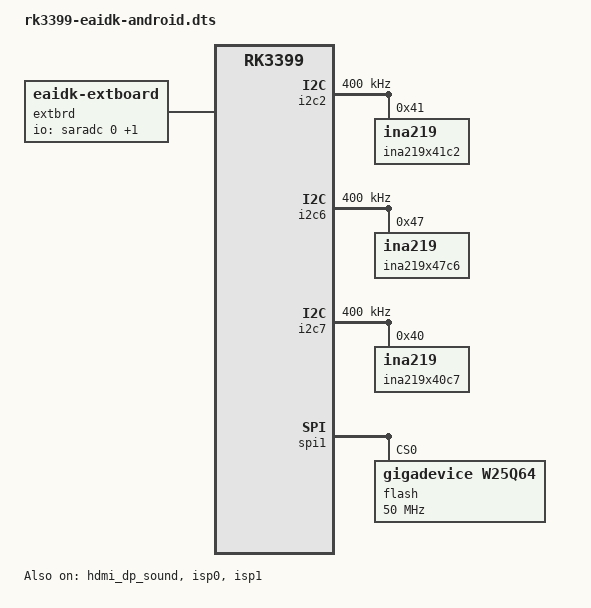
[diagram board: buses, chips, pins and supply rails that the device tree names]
/*
 * Copyright (c) 2018 Fuzhou Rockchip Electronics Co., Ltd
 *
 * This file is dual-licensed: you can use it either under the terms
 * of the GPL or the X11 license, at your option. Note that this dual
 * licensing only applies to this file, and not this project as a
 * whole.
 *
 *  a) This file is free software; you can redistribute it and/or
 *     modify it under the terms of the GNU General Public License as
 *     published by the Free Software Foundation; either version 2 of the
 *     License, or (at your option) any later version.
 *
 *     This file is distributed in the hope that it will be useful,
 *     but WITHOUT ANY WARRANTY; without even the implied warranty of
 *     MERCHANTABILITY or FITNESS FOR A PARTICULAR PURPOSE.  See the
 *     GNU General Public License for more details.
 *
 * Or, alternatively,
 *
 *  b) Permission is hereby granted, free of charge, to any person
 *     obtaining a copy of this software and associated documentation
 *     files (the "Software"), to deal in the Software without
 *     restriction, including without limitation the rights to use,
 *     copy, modify, merge, publish, distribute, sublicense, and/or
 *     sell copies of the Software, and to permit persons to whom the
 *     Software is furnished to do so, subject to the following
 *     conditions:
 *
 *     The above copyright notice and this permission notice shall be
 *     included in all copies or substantial portions of the Software.
 *
 *     THE SOFTWARE IS PROVIDED "AS IS", WITHOUT WARRANTY OF ANY KIND,
 *     EXPRESS OR IMPLIED, INCLUDING BUT NOT LIMITED TO THE WARRANTIES
 *     OF MERCHANTABILITY, FITNESS FOR A PARTICULAR PURPOSE AND
 *     NONINFRINGEMENT. IN NO EVENT SHALL THE AUTHORS OR COPYRIGHT
 *     HOLDERS BE LIABLE FOR ANY CLAIM, DAMAGES OR OTHER LIABILITY,
 *     WHETHER IN AN ACTION OF CONTRACT, TORT OR OTHERWISE, ARISING
 *     FROM, OUT OF OR IN CONNECTION WITH THE SOFTWARE OR THE USE OR
 *     OTHER DEALINGS IN THE SOFTWARE.
 */

/dts-v1/;

#include "rk3399-eaidk.dtsi"
#include "rk3399-android.dtsi"
#include "rk3399-vop-clk-set.dtsi"
/* Default screen: edp */
//#include "rk3399-eaidk-edp.dtsi"
#include "rk3399-eaidk-mipi.dtsi"

/ {
	compatible = "rockchip,rk3399-eaidk-android","rockchip,rk3399";

	extbrd: extbrd {
		compatible = "eaidk-extboard";
		io-channels = <&saradc 0>, <&saradc 3>;
	};
};

&hdmi_dp_sound {
        status = "okay";
};

&isp0 {
        status = "okay";
};

&isp0_mmu {
        status = "okay";
};

&isp1 {
        status = "okay";
};

&isp1_mmu {
        status = "okay";
};

&i2c2 {
        status = "okay";
        i2c-scl-rising-time-ns = <300>;
        i2c-scl-falling-time-ns = <15>;
        clock-frequency=<400000>;

        ina219x41c2: ina219@41 {
                compatible = "ina219";
                reg = <0x41>;
        };
};

&i2c6 {
        status = "okay";
        i2c-scl-rising-time-ns = <300>;
        i2c-scl-falling-time-ns = <15>;
        clock-frequency=<400000>;

        ina219x47c6: ina219@47 {
                compatible = "ina219";
                reg = <0x47>;
        };
};

&i2c7 {
        status = "okay";
        i2c-scl-rising-time-ns = <300>;
        i2c-scl-falling-time-ns = <15>;
        clock-frequency=<400000>;

        ina219x40c7: ina219@40 {
                compatible = "ina219";
                reg = <0x40>;
        };
};

&spi1 {
	status = "okay";

	flash@0 {
		compatible = "gigadevice,w25q64", "jedec,spi-nor";
		#address-cells = <1>;
		#size-cells = <1>;
		reg = <0>;
		m25p,fast-read;
		// The max SCLK of the flash 104/80 MHZ
		spi-max-frequency = <50000000>;
	};
};
